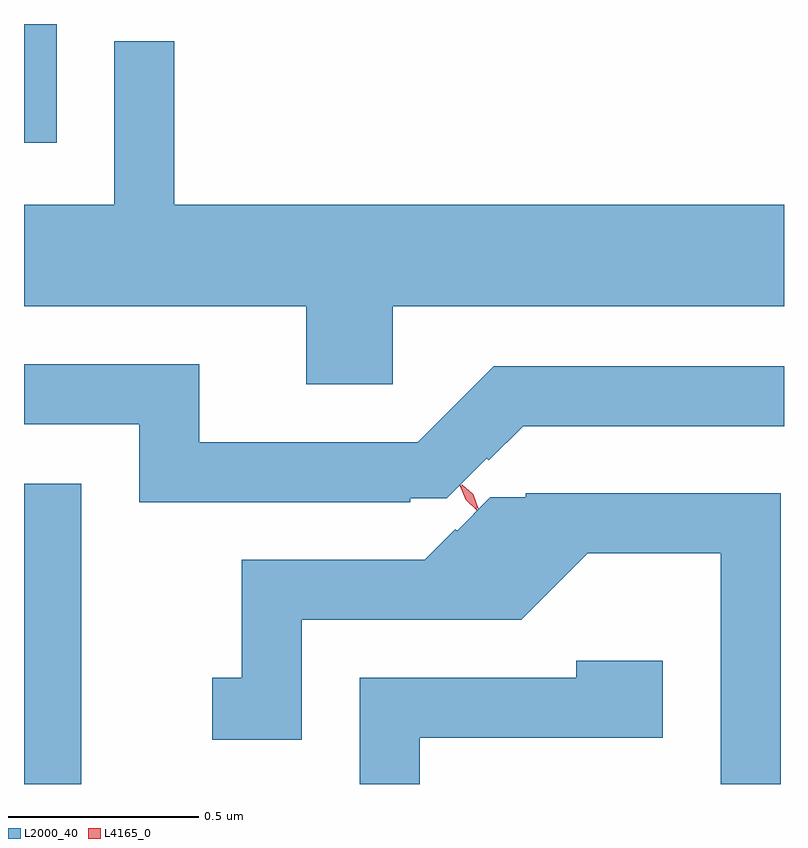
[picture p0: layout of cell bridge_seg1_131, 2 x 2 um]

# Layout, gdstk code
import gdstk
lib = gdstk.Library(unit=1e-6, precision=1e-09)
def R(c, l, rs):  # rectangles x0, y0, x1, y1
    for r in rs: c.add(gdstk.rectangle(r[:2], r[2:], *l))
def P(c, l, *ps):  # polygons
    for p in ps: c.add(gdstk.Polygon(p, *l))
L2000_40 = (2000, 40)
L4165_0 = (4165, 0)

bridge_seg1_131 = lib.new_cell('bridge_seg1_131')
R(bridge_seg1_131, L2000_40, [(1467.468,853.919,1467.619,854.709), (1467.468,855.606,1467.554,855.919)])
P(bridge_seg1_131, L2000_40, [(1468.439,855.176),(1469.468,855.176),(1469.468,855.444),(1467.864,855.444),(1467.864,855.873),(1467.706,855.873),(1467.706,855.444),(1467.468,855.444),(1467.468,855.176),(1468.211,855.176),(1468.211,854.971),(1468.439,854.971)],
  [(1468.485,854.671),(1468.581,854.671),(1468.686,854.776),(1468.691,854.771),(1468.782,854.861),(1469.468,854.861),(1469.468,855.019),(1468.704,855.019),(1468.504,854.819),(1467.929,854.819),(1467.929,855.024),(1467.468,855.024),(1467.468,854.866),(1467.771,854.866),(1467.771,854.661),(1468.485,854.661)],
  [(1469.459,854.684),(1468.788,854.684),(1468.788,854.673),(1468.695,854.673),(1468.608,854.586),(1468.603,854.59),(1468.522,854.509),(1468.041,854.509),(1468.041,854.199),(1467.963,854.199),(1467.963,854.036),(1468.199,854.036),(1468.199,854.351),(1468.777,854.351),(1468.952,854.526),(1469.301,854.526),(1469.301,853.919),(1469.459,853.919)],
  [(1468.509,854.041),(1469.149,854.041),(1469.149,854.244),(1468.921,854.244),(1468.921,854.199),(1468.351,854.199),(1468.351,853.919),(1468.509,853.919)])
P(bridge_seg1_131, L4165_0, [(1468.66,854.64),(1468.63,854.667),(1468.615,854.705),(1468.616,854.705),(1468.616,854.705),(1468.646,854.678),(1468.661,854.64),(1468.661,854.64)],
  [(1468.663,854.644),(1468.634,854.669),(1468.62,854.705),(1468.62,854.706),(1468.621,854.706),(1468.65,854.681),(1468.664,854.645),(1468.664,854.644)])

lib.write_gds('bridge_seg1_131.gds')
